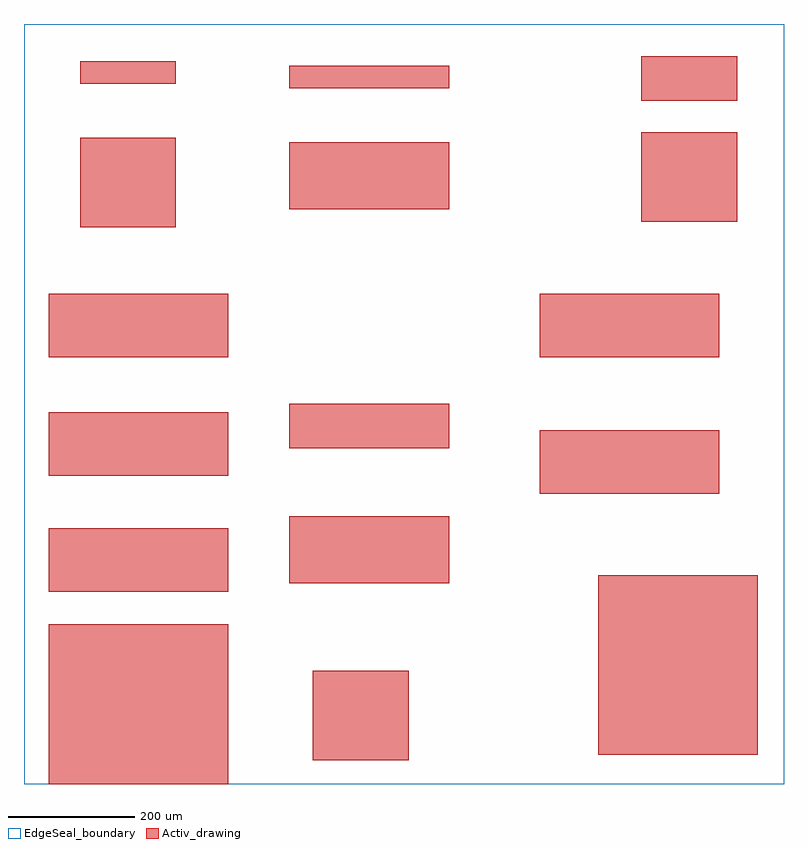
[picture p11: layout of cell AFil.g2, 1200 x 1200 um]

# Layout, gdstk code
import gdstk
lib = gdstk.Library(unit=1e-6, precision=1e-09)
def R(c, l, rs):  # rectangles x0, y0, x1, y1
    for r in rs: c.add(gdstk.rectangle(r[:2], r[2:], *l))
def A(c, l, x, y, w, h, nx, ny, dx, dy):  # array of equal rectangles
    R(c, l, [(x+i*dx, y+j*dy, x+i*dx+w, y+j*dy+h) for i in range(nx) for j in range(ny)])
Activ_drawing = (1, 0)
EdgeSeal_boundary = (39, 4)

afil_g2 = lib.new_cell('AFil.g2')
A(afil_g2, Activ_drawing, 39.38, 0, 35, 50, 8, 5, 35.5, 50.5)
A(afil_g2, Activ_drawing, 456.17, 37.335, 50, 35, 3, 4, 50.5, 35.5)
A(afil_g2, Activ_drawing, 906.695, 46.18, 50, 35, 5, 8, 50.5, 35.5)
A(afil_g2, Activ_drawing, 39.38, 303.45, 35, 50, 8, 2, 35.5, 50.5)
A(afil_g2, Activ_drawing, 419.065, 317.14, 50, 35, 5, 3, 50.5, 35.5)
A(afil_g2, Activ_drawing, 814.46, 458.175, 35, 50, 8, 2, 35.5, 50.5)
A(afil_g2, Activ_drawing, 39.38, 486.755, 35, 50, 8, 2, 35.5, 50.5)
A(afil_g2, Activ_drawing, 419.065, 530.14, 50, 35, 5, 2, 50.5, 35.5)
A(afil_g2, Activ_drawing, 39.38, 673.44, 35, 50, 8, 2, 35.5, 50.5)
A(afil_g2, Activ_drawing, 814.46, 673.44, 35, 50, 8, 2, 35.5, 50.5)
A(afil_g2, Activ_drawing, 88.995, 879.115, 50, 35, 3, 4, 50.5, 35.5)
A(afil_g2, Activ_drawing, 974.875, 887.55, 50, 35, 3, 4, 50.5, 35.5)
A(afil_g2, Activ_drawing, 419.065, 907.56, 50, 35, 5, 3, 50.5, 35.5)
A(afil_g2, Activ_drawing, 974.875, 1078.87, 50, 35, 3, 2, 50.5, 35.5)
A(afil_g2, Activ_drawing, 419.065, 1098.88, 50, 35, 5, 1, 50.5, 0)
A(afil_g2, Activ_drawing, 88.995, 1105.935, 50, 35, 3, 1, 50.5, 0)
R(afil_g2, EdgeSeal_boundary, [(0,0,1200,1200)])

lib.write_gds('AFil.g2.gds')
